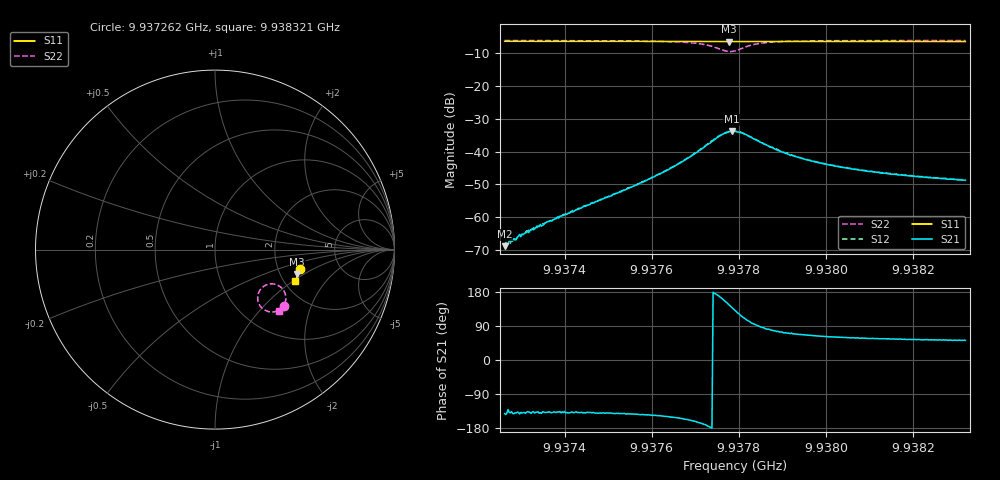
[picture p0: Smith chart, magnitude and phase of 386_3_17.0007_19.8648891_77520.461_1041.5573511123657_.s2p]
#  HZ  S  RI  R  50.00
! Rohde & Schwarz Vector Network Analyzer
! Rohde-Schwarz,ZNB20-2Port,1311601062101988,3.16
! Created: UTC 3/20/2024, 11:09:21 PM
! freq[Hz]  re:S11  im:S11  re:S21  im:S21  re:S12  im:S12  re:S22  im:S22
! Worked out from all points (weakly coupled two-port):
!   401 points, 9.937262 GHz to 9.938321 GHz, reference 50 ohm
!   highest |S21| = -33.76 dB at 9.937783 GHz (marker M1); lowest = -68.9 dB at 9.937262 GHz (marker M2)
!   lowest |S11| = -6.4 dB at 9.937778 GHz (marker M3), VSWR 2.84, Z = 123 - j44.4 ohm
!   |S11| at or under -10 dB: nowhere
!   |S22| runs from -9.5 to -6.1 dB; largest |S21 - S12| = 0.00086
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9.9372618e9  0.472 -0.1058  -0.000281 -0.000226  -0.000283 -0.000239  0.3865 -0.3142
9.9372777e9  0.4717 -0.1068  -0.000333 -0.000319  -0.000334 -0.000281  0.3853 -0.3153
9.9373121e9  0.471 -0.1092  -0.000433 -0.00039  -0.000457 -0.000415  0.383 -0.3177
9.9373386e9  0.4704 -0.111  -0.000528 -0.0005  -0.000559 -0.000448  0.3808 -0.3197
9.9373862e9  0.4695 -0.1142  -0.000717 -0.000655  -0.000752 -0.000678  0.3765 -0.3233
9.9374392e9  0.4682 -0.1178  -0.00103 -0.000936  -0.00106 -0.000938  0.3713 -0.3274
9.9375451e9  0.4659 -0.1248  -0.00213 -0.00171  -0.00225 -0.00167  0.3567 -0.3369
9.9376166e9  0.4642 -0.1296  -0.0038 -0.00249  -0.0039 -0.00239  0.3394 -0.3441
9.9376669e9  0.4627 -0.1329  -0.00613 -0.00298  -0.00631 -0.00291  0.3177 -0.3477
9.9377225e9  0.4608 -0.1367  -0.0118 -0.00203  -0.0121 -0.0017  0.2711 -0.3334
9.937757e9  0.4591 -0.1383  -0.017 0.00417  -0.0171 0.00459  0.2384 -0.2796
9.9377781e9  0.4585 -0.1387  -0.0167 0.0115  -0.0165 0.0121  0.2523 -0.2234
9.9377834e9  0.4586 -0.1389  -0.0155 0.0134  -0.0154 0.0139  0.263 -0.2113
9.9377914e9  0.4586 -0.1391  -0.0134 0.0154  -0.0131 0.016  0.2828 -0.1982
9.9378126e9  0.4588 -0.14  -0.00657 0.0173  -0.00617 0.0178  0.3385 -0.1941
9.9378496e9  0.4588 -0.1426  0.000582 0.0139  0.000959 0.0141  0.3859 -0.2336
9.9378788e9  0.4584 -0.1448  0.00238 0.0112  0.00262 0.0111  0.3941 -0.2602
9.9379132e9  0.4579 -0.1474  0.00304 0.00864  0.00324 0.00874  0.3938 -0.2811
9.9379688e9  0.4565 -0.1512  0.00313 0.00647  0.00327 0.00649  0.3887 -0.301
9.938035e9  0.4546 -0.1556  0.00292 0.005  0.00302 0.00503  0.3818 -0.3149
9.9381462e9  0.4517 -0.1628  0.00256 0.00382  0.00271 0.00379  0.372 -0.3292
9.938321e9  0.4468 -0.174  0.00226 0.00287  0.00234 0.00286  0.3591 -0.3437
